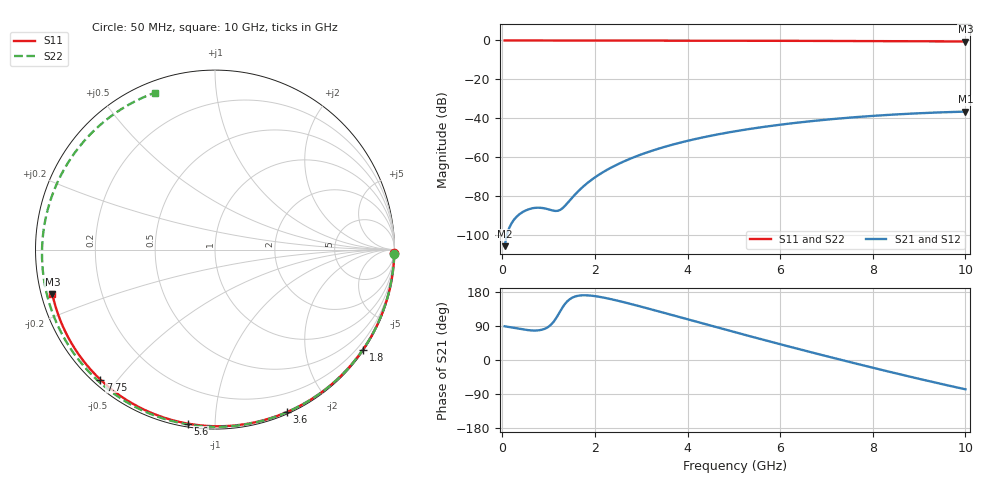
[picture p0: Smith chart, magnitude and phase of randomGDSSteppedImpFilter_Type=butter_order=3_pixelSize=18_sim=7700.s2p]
! freq	dB(S11)	phase(S11)	dB(S12)	phase(S12)
!  dB(S21)	phase(S21)	dB(S22)	phase(S22)
!S-par simulation data
#  GHz  S  DB  R 50
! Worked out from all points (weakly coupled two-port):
!   200 points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, 50 MHz to 10 GHz, reference 50 ohm
!   highest |S21| = -36.63 dB at 10 GHz (marker M1); lowest = -105.9 dB at 50 MHz (marker M2)
!   lowest |S11| = -0.5 dB at 10 GHz (marker M3), VSWR 31.99, Z = 1.59 - j6.69 ohm
!   |S11| at or under -10 dB: nowhere
!   |S22| runs from -0.6 to 0.0 dB; largest |S21 - S12| = 0
!   S11 on the Smith chart (normalised r, x): 50 MHz: open; 1.8 GHz: 0.03, -3.26; 3.6 GHz: 0.02, -1.53; 5.6 GHz: 0.02, -0.86; 7.75 GHz: 0.02, -0.45; 10 GHz: 0.03, -0.13
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0.05  -0.00 -0.9  -105.92 89.0  -105.92 89.0  -0.00 -1.5
0.4  -0.01 -7.7  -88.96 81.9  -88.96 81.9  -0.02 -12.5
0.75  -0.02 -14.4  -86.13 78.0  -86.13 78.0  -0.03 -23.3
1.15  -0.03 -21.9  -87.79 108.0  -87.79 108.0  -0.04 -35.5
1.55  -0.04 -29.4  -79.88 166.6  -79.88 166.6  -0.06 -47.3
1.75  -0.04 -33.1  -75.17 170.8  -75.17 170.8  -0.07 -53.2
1.8  -0.04 -34.1  -74.15 170.8  -74.15 170.8  -0.07 -54.6
2.1  -0.05 -39.6  -68.92 166.7  -68.92 166.7  -0.08 -63.1
2.45  -0.06 -45.9  -64.25 157.7  -64.25 157.7  -0.09 -72.8
2.9  -0.07 -54.0  -59.59 143.9  -59.59 143.9  -0.11 -84.9
3.4  -0.08 -62.7  -55.53 127.5  -55.53 127.5  -0.12 -97.7
3.6  -0.09 -66.2  -54.15 120.9  -54.15 120.9  -0.13 -102.7
4.3  -0.11 -78.0  -50.07 97.4  -50.07 97.4  -0.16 -119.6
5.05  -0.14 -90.2  -46.68 72.5  -46.68 72.5  -0.19 -136.8
5.6  -0.16 -98.9  -44.66 54.5  -44.66 54.5  -0.22 -149.0
6.15  -0.19 -107.4  -42.95 36.9  -42.95 36.9  -0.26 -161.0
6.7  -0.23 -115.7  -41.48 19.5  -41.48 19.5  -0.30 -172.9
7.25  -0.26 -124.0  -40.24 2.4  -40.24 2.4  -0.34 175.1
7.75  -0.30 -131.4  -39.27 -12.9  -39.27 -12.9  -0.38 164.1
8.35  -0.36 -140.2  -38.30 -30.8  -38.30 -30.8  -0.43 150.7
9.15  -0.44 -152.0  -37.32 -53.9  -37.32 -53.9  -0.50 132.0
10  -0.54 -164.7  -36.63 -77.3  -36.63 -77.3  -0.57 111.1
